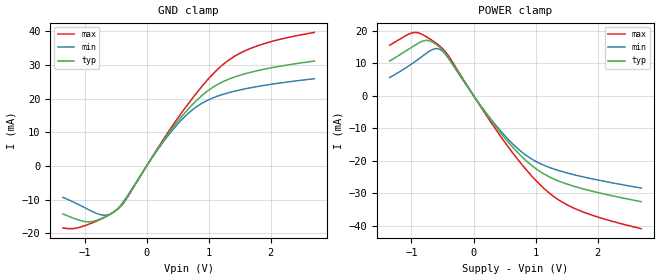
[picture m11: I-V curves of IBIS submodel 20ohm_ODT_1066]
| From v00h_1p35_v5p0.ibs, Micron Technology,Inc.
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| SUBMODEL 20ohm_ODT_1066
[Submodel]   20ohm_ODT_1066
Submodel_type  Dynamic_clamp
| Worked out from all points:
|   POWER clamp passes 1 mA (typ) near -0.04 V on its own axis
[GND Clamp]
|   Voltage   I(typ)   I(min)   I(max)
-1.35V    -14.3mA    -9.347mA   -18.45mA
-940mV    -16.65mA   -12.98mA   -17.41mA
-740mV    -15.76mA   -14.53mA   -15.85mA
-590mV    -14.39mA   -14.38mA   -14.4mA
-345mV    -10.14mA   -9.89mA    -10.32mA
140mV     4.007mA    3.841mA    4.154mA
460mV     12.29mA    11.61mA    13.11mA
730mV     18.08mA    16.56mA    19.94mA
1.005V    22.61mA    19.72mA    26.09mA
1.31V     25.7mA     21.71mA    31.3mA
1.635V    27.65mA    23.09mA    34.64mA
2.7V      31.17mA    25.92mA    39.69mA
[POWER Clamp]
|   Voltage   I(typ)   I(min)   I(max)
-1.35V    10.66mA    5.581mA    15.51mA
-935mV    15.62mA    10.58mA    19.46mA
-730mV    16.96mA    13.42mA    17.78mA
-540mV    14.77mA    14.21mA    15.18mA
-405mV    11.73mA    11.5mA     12.28mA
150mV     -4.134mA   -3.976mA   -4.437mA
485mV     -12.6mA    -11.92mA   -13.82mA
825mV     -19.62mA   -18.05mA   -22.27mA
1.145V    -24.2mA    -21.5mA    -28.72mA
1.39V     -26.4mA    -23.14mA   -32.3mA
1.645V    -28.03mA   -24.45mA   -34.85mA
2.7V      -32.61mA   -28.42mA   -40.91mA
